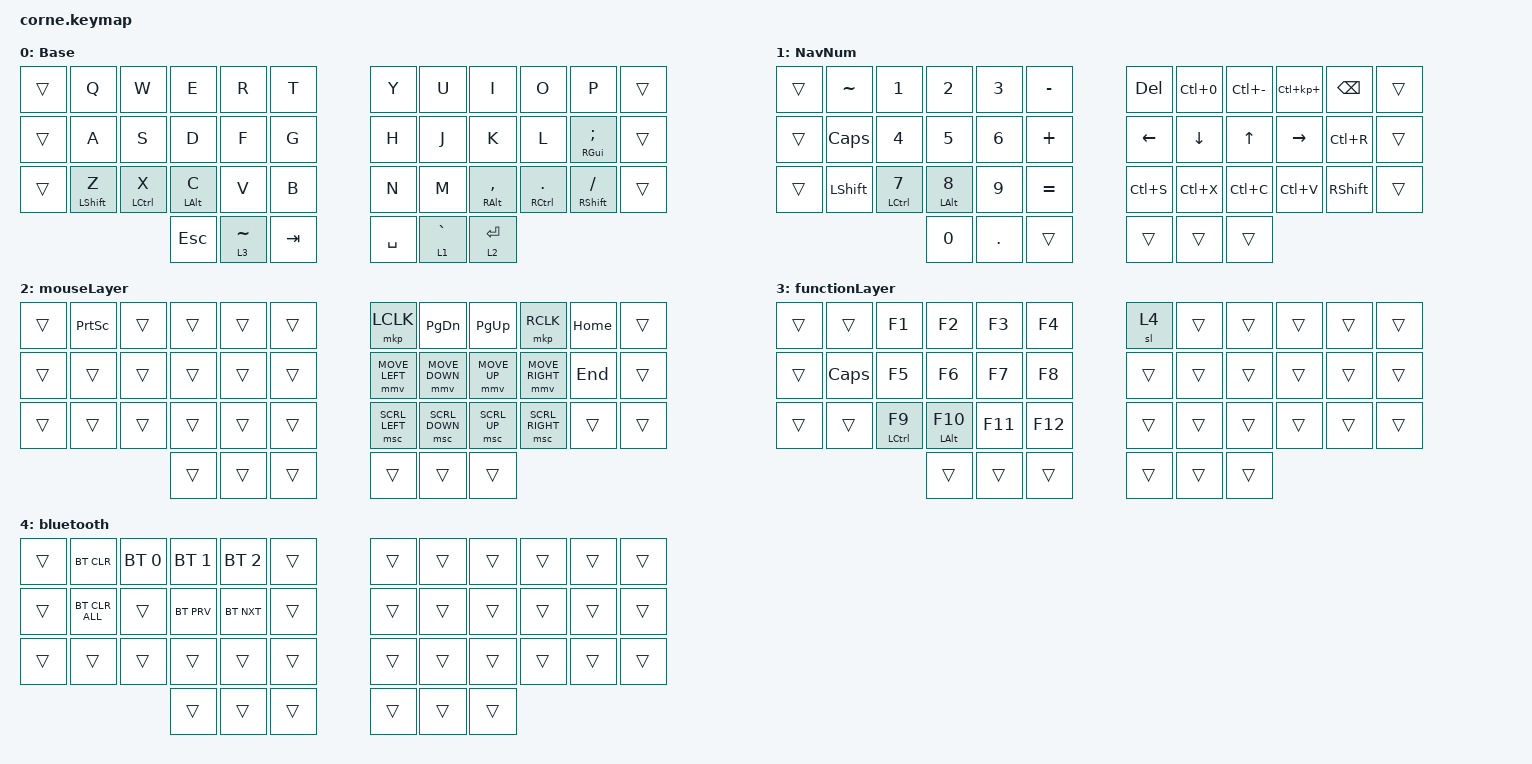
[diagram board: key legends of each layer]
#include <behaviors.dtsi>
#include <dt-bindings/zmk/bt.h>
#include <dt-bindings/zmk/keys.h>
#include <dt-bindings/zmk/pointing.h>

#define DEF 0
#define NAV 1
#define SYM 2
#define ADJ 3
#define EXTRA 4

/ {
    behaviors {
        hm: homerow_mods {
            compatible = "zmk,behavior-hold-tap";
            #binding-cells = <2>;
            tapping-term-ms = <200>;
            flavor = "tap-preferred";
            bindings = <&kp>, <&kp>;

            quick-tap-ms = <180>;
            require-prior-idle-ms = <120>; /* tune to taste */
        };

        para: para {
            compatible = "zmk,behavior-tap-dance";
            #binding-cells = <0>;
            bindings = <&kp LEFT_PARENTHESIS>, <&kp RIGHT_PARENTHESIS>;
        };

        caps: caps {
            compatible = "zmk,behavior-caps-word";
            #binding-cells = <0>;
            continue-list = <MINUS BACKSPACE>;
        };

        paraless: paraless {
            compatible = "zmk,behavior-mod-morph";
            bindings = <&kp LEFT_PARENTHESIS>, <&kp LESS_THAN>;

            #binding-cells = <0>;
            mods = <(MOD_LSFT)>;
        };

        paragreat: paragreat {
            compatible = "zmk,behavior-mod-morph";
            bindings = <&kp RIGHT_PARENTHESIS>, <&kp GREATER_THAN>;

            #binding-cells = <0>;
            mods = <(MOD_LSFT)>;
        };
    };

    macros {
        browsertab: browsertab {
            compatible = "zmk,behavior-macro";
            #binding-cells = <0>;
            bindings =
                <&macro_press>,
                <&kp LCTRL>,
                <&macro_tap>,
                <&kp TAB>,
                <&macro_release>,
                <&kp LCTRL>;
        };
    };

    combos {
        compatible = "zmk,combos";

        delete {
            bindings = <&kp DELETE>;
            key-positions = <15 21>;
        };

        singleQuote {
            bindings = <&kp SINGLE_QUOTE>;
            key-positions = <22 34>;
        };

        doubleQuotes {
            bindings = <&kp DOUBLE_QUOTES>;
            key-positions = <10 22>;
        };

        Minus {
            bindings = <&kp MINUS>;
            key-positions = <18 30>;
        };

        underscore {
            bindings = <&kp UNDERSCORE>;
            key-positions = <6 18>;
        };

        equal {
            bindings = <&kp EQUAL>;
            key-positions = <19 31>;
        };

        plus {
            bindings = <&kp PLUS>;
            key-positions = <7 19>;
        };

        pipe {
            bindings = <&kp PIPE>;
            key-positions = <8 20>;
        };

        backslash {
            bindings = <&kp BACKSLASH>;
            key-positions = <20 32>;
        };

        tilde {
            bindings = <&kp TILDE>;
            key-positions = <9 21>;
        };

        grave {
            bindings = <&kp GRAVE>;
            key-positions = <21 33>;
        };

        backSpace {
            bindings = <&kp BACKSPACE>;
            key-positions = <14 29>;
        };

        leftPara {
            bindings = <&kp LEFT_PARENTHESIS>;
            key-positions = <15 3>;
        };

        rightPara {
            bindings = <&kp RIGHT_PARENTHESIS>;
            key-positions = <15 27>;
        };

        leftBrace {
            bindings = <&kp LEFT_BRACE>;
            key-positions = <4 16>;
        };

        leftBracket {
            bindings = <&kp RIGHT_BRACE>;
            key-positions = <16 28>;
        };

        rightBrace {
            bindings = <&kp LEFT_BRACKET>;
            key-positions = <5 17>;
        };

        rightBracket {
            bindings = <&kp RIGHT_BRACKET>;
            key-positions = <29 17>;
        };

        Bluetooth {
            bindings = <&mo 4>;
            key-positions = <41 40 37>;
        };
    };

    //

    keymap {
        compatible = "zmk,keymap";

        DEF {
            display-name = "Base";

            // -----------------------------------------------------------------------------------------
            // |  Q  |  W  |  E  |  R  |  T  |   |  Y  |  U   |  I  |  O  |  P  |
            // |  A  |  S  |  D  |  F  |  G  |   |  H  |  J   |  K  |  L  |  ;  |
            // |  Z  |  X  |  C  |  V  |  B  |   |  N  |  M   |  ,  |  .  |  /  |
            // | GUI | CTRL | SHFT | LWR | SPC |   | ENT | RSE  | BKSP | ALT | ESC |

            bindings = <
&trans  &kp Q             &kp W        &kp E           &kp R        &kp T      &kp Y      &kp U        &kp I                &kp O             &kp P                    &trans
&trans  &kp A             &kp S        &kp D           &kp F        &kp G      &kp H      &kp J        &kp K                &kp L             &mt RIGHT_GUI SEMICOLON  &trans
&trans  &hm LEFT_SHIFT Z  &hm LCTRL X  &hm LEFT_ALT C  &kp V        &kp B      &kp N      &kp M        &hm RIGHT_ALT COMMA  &hm RCTRL PERIOD  &hm RSHIFT SLASH         &trans
                                       &kp ESC         &lt 3 TILDE  &kp TAB    &kp SPACE  &lt 1 GRAVE  &lt 2 ENTER
            >;
        };

        NUM {
            display-name = "NavNum";

            // -----------------------------------------------------------------------------------------
            // |  TAB |  1  |  2  |  3  |  4  |  5  |   |  6  |  7  |  8  |  9  |  0  | BKSP |
            // | BTCLR| BT1 | BT2 | BT3 | BT4 | BT5 |   | LFT | DWN |  UP | RGT |     |      |
            // | SHFT |     |     |     |     |     |   |     |     |     |     |     |      |
            // | GUI | CTRL | SHFT | LWR | SPC |   | ENT | RSE  | BKSP | ALT | ESC |

            bindings = <
&trans  &kp TILDE  &kp N1        &kp N2           &kp N3      &kp MINUS    &kp DELETE  &kp LC(NUMBER_0)  &kp LC(MINUS)  &kp LC(KP_PLUS)  &kp BACKSPACE  &trans
&trans  &kp CAPS   &kp N4        &kp N5           &kp N6      &kp PLUS     &kp LEFT    &kp DOWN          &kp UP_ARROW   &kp RIGHT        &kp LC(R)      &trans
&trans  &kp LSHFT  &mt LCTRL N7  &mt LEFT_ALT N8  &kp N9      &kp EQUAL    &kp LC(S)   &kp LC(X)         &kp LC(C)      &kp LC(V)        &kp RSHFT      &trans
                                 &kp N0           &kp PERIOD  &trans       &trans      &trans            &trans
            >;
        };

        MOU {
            display-name = "mouseLayer";
            bindings = <
&trans  &kp PRINTSCREEN  &trans  &trans  &trans  &trans    &mkp LCLK       &kp PG_DN       &kp PG_UP     &mkp RCLK        &kp HOME  &trans
&trans  &trans           &trans  &trans  &trans  &trans    &mmv MOVE_LEFT  &mmv MOVE_DOWN  &mmv MOVE_UP  &mmv MOVE_RIGHT  &kp END   &trans
&trans  &trans           &trans  &trans  &trans  &trans    &msc SCRL_LEFT  &msc SCRL_DOWN  &msc SCRL_UP  &msc SCRL_RIGHT  &trans    &trans
                                 &trans  &trans  &trans    &trans          &trans          &trans
            >;
        };

        FUN {
            display-name = "functionLayer";
            bindings = <
&trans  &trans    &kp F1               &kp F2            &kp F3   &kp F4     &sl 4   &trans  &trans  &trans  &trans  &trans
&trans  &kp CAPS  &kp F5               &kp F6            &kp F7   &kp F8     &trans  &trans  &trans  &trans  &trans  &trans
&trans  &trans    &mt LEFT_CONTROL F9  &mt LEFT_ALT F10  &kp F11  &kp F12    &trans  &trans  &trans  &trans  &trans  &trans
                                       &trans            &trans   &trans     &trans  &trans  &trans
            >;
        };

        bluetooth {
            bindings = <
&trans  &bt BT_CLR      &bt BT_SEL 0  &bt BT_SEL 1  &bt BT_SEL 2  &trans    &trans  &trans  &trans  &trans  &trans  &trans
&trans  &bt BT_CLR_ALL  &trans        &bt BT_PRV    &bt BT_NXT    &trans    &trans  &trans  &trans  &trans  &trans  &trans
&trans  &trans          &trans        &trans        &trans        &trans    &trans  &trans  &trans  &trans  &trans  &trans
                                      &trans        &trans        &trans    &trans  &trans  &trans
            >;
        };
    };
};
